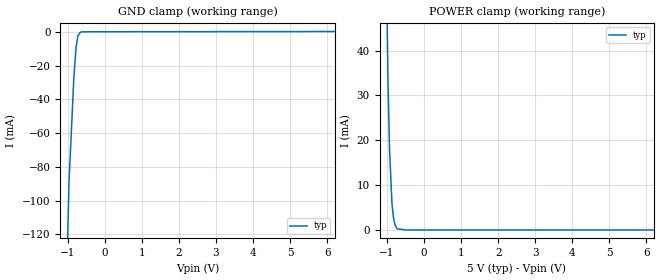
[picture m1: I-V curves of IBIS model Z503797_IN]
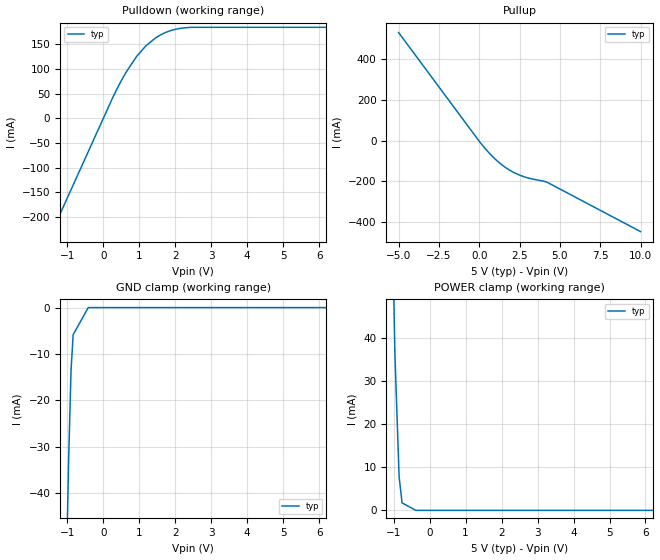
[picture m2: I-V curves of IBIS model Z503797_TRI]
| YOU ARE ONLY AUTHORIZED TO USE THIS SOFTWARE
| ACCORDING TO LICENSOR'S LICENSE RESTRICTIONS.
[IBIS Ver] 3.1
[File Name] mc74ac541n_5.ibs
[File Rev] 2.0
[Source] Measured and created by ICX Technology
[Date] Friday 7/14/00 9:08:00 AM
[Copyright]
| (C) COPYRIGHT 1993-2000
| MENTOR GRAPHICS CORPORATION
| ICX STANDARD LIBRARY, ICX PROJECT MODELING,
| ICX CUSTOM MODELING, ICX VENDOR MODEL
| ALL RIGHTS RESERVED.
| THE FOLLOWING ARE TRADEMARKS OR SERVICE MARKS OF
| MENTOR GRAPHICS CORPORATION:ICX (R), ICX STANDARD
| LIBRARY(R), ICX PROJECT MODELING(R), ICX CUSTOM
| MODELING(R), qualityIBIS(TM), MODELVIEWER(TM),
| AND MODELEDITOR(TM)
| ALL COPIES OF SOFTWARE, INCLUDING BUT NOT LIMITED TO
| ANY MODIFICATIONS, ENHANCEMENTS OR DERIVATIVE WORKS,
| MUST CONTAIN ALL MENTOR GRAPHICS CORPORATION'S
| NOTICES AND LEGENDS, INCLUDING THOSE EMBEDDED IN
| SOFTWARE AND THOSE AFFIXED TO SOFTWARE MEDIUM
| AND CONTAINER, AS RECEIVED FROM MENTOR GRAPHICS
| CORPORATION.
|  ZAP Model Builder 2.7
[Component] MC74AC541N_5
[Manufacturer] OnSemiconductor
[Package]
| variable   typ   min   max
R_pkg  .216ohms NA NA
L_pkg  5.76nH NA NA
C_pkg  1.29pF NA NA
[Pin] signal_name  model_name  R_pin  L_pin C_pin
1 _G1 Z503797_IN .232 9.76n 1.87p
2 A0 Z503797_IN .224 7.26n 1.58p
3 A1 Z503797_IN .216 5.26n 1.29p
4 A2 Z503797_IN .208 3.76n 1.0p
5 A3 Z503797_IN .2 2.76n .71p
6 A4 Z503797_IN .2 2.76n .71p
7 A5 Z503797_IN .208 3.76n 1.0p
8 A6 Z503797_IN .216 5.26n 1.29p
9 A7 Z503797_IN .224 7.26n 1.58p
10 GND GND .232 9.76n 1.87p
11 Y7 Z503797_TRI .232 9.76n 1.87p
12 Y6 Z503797_TRI .224 7.26n 1.58p
13 Y5 Z503797_TRI .216 5.26n 1.29p
14 Y4 Z503797_TRI .208 3.76n 1.0p
15 Y3 Z503797_TRI .2 2.76n .71p
16 Y2 Z503797_TRI .2 2.76n .71p
17 Y1 Z503797_TRI .208 3.76n 1.0p
18 Y0 Z503797_TRI .216 5.26n 1.29p
19 _G2 Z503797_IN .224 7.26n 1.58p
20 VCC POWER .232 9.76n 1.87p
| Models and submodels in the file (2): Z503797_IN (Input), Z503797_TRI (3-state)
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| (C) COPYRIGHT 1993-2000
| MENTOR GRAPHICS CORPORATION
| ICX STANDARD LIBRARY, ICX PROJECT MODELING,
| ICX CUSTOM MODELING, ICX VENDOR MODEL
| ALL RIGHTS RESERVED.
| THE FOLLOWING ARE TRADEMARKS OR SERVICE MARKS OF
| MENTOR GRAPHICS CORPORATION:ICX (R), ICX STANDARD
| LIBRARY(R), ICX PROJECT MODELING(R), ICX CUSTOM
| MODELING(R), qualityIBIS(TM), MODELVIEWER(TM),
| AND MODELEDITOR(TM)
| ALL COPIES OF SOFTWARE, INCLUDING BUT NOT LIMITED TO
| ANY MODIFICATIONS, ENHANCEMENTS OR DERIVATIVE WORKS,
| MUST CONTAIN ALL MENTOR GRAPHICS CORPORATION'S
| NOTICES AND LEGENDS, INCLUDING THOSE EMBEDDED IN
| SOFTWARE AND THOSE AFFIXED TO SOFTWARE MEDIUM
| AND CONTAINER, AS RECEIVED FROM MENTOR GRAPHICS
| CORPORATION.
| Model Application Version 1.89 2/18/99.
[Model] Z503797_IN
Model_type Input
Vinl = 1.500V
Vinh = 3.500V
C_comp 4.000pF NA NA
| variable typ   min   max
[Voltage Range] 5.000V NA NA
[GND Clamp Reference] 0.000V NA NA
[POWER Clamp Reference] 5.000V NA NA
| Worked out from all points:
|   GND clamp passes 1 mA (typ) near -0.69 V on its own axis
|   POWER clamp passes 1 mA (typ) near -0.77 V on its own axis
[GND Clamp]
-5V       -3.816A    NA         NA
-971mV    -90.27mA   NA         NA
-839.2mV  -27.51mA   NA         NA
-780.2mV  -9.412mA   NA         NA
-729.5mV  -2.329mA   NA         NA
-667.2mV  -253.8uA   NA         NA
-295.3mV  135.4uA    NA         NA
10V       554uA      NA         NA
[POWER Clamp]
-5V       4.066A     NA         NA
-1.209V   207.7mA    NA         NA
-1.095V   108.9mA    NA         NA
-977mV    34.11mA    NA         NA
-932mV    17.89mA    NA         NA
-867mV    5.907mA    NA         NA
-830mV    2.929mA    NA         NA
-792mV    1.297mA    NA         NA
-732mV    270.2uA    NA         NA
-488mV    0A         NA         NA
10V       0A         NA         NA
| (C) COPYRIGHT 1993-2000
| MENTOR GRAPHICS CORPORATION
| ICX STANDARD LIBRARY, ICX PROJECT MODELING,
| ICX CUSTOM MODELING, ICX VENDOR MODEL
| ALL RIGHTS RESERVED.
| THE FOLLOWING ARE TRADEMARKS OR SERVICE MARKS OF
| MENTOR GRAPHICS CORPORATION:ICX (R), ICX STANDARD
| LIBRARY(R), ICX PROJECT MODELING(R), ICX CUSTOM
| MODELING(R), qualityIBIS(TM), MODELVIEWER(TM),
| AND MODELEDITOR(TM)
| ALL COPIES OF SOFTWARE, INCLUDING BUT NOT LIMITED TO
| ANY MODIFICATIONS, ENHANCEMENTS OR DERIVATIVE WORKS,
| MUST CONTAIN ALL MENTOR GRAPHICS CORPORATION'S
| NOTICES AND LEGENDS, INCLUDING THOSE EMBEDDED IN
| SOFTWARE AND THOSE AFFIXED TO SOFTWARE MEDIUM
| AND CONTAINER, AS RECEIVED FROM MENTOR GRAPHICS
| CORPORATION.
| Model Application Version 1.89 2/18/99.
[Model] Z503797_TRI
Model_type 3-state
Vref=0.000V
Rref=500.0ohms
Cref=50.00pF
Vmeas=2.500V
C_comp 8.000pF NA NA
| variable typ   min   max
[Voltage Range] 5.000V NA NA
[POWER Clamp Reference] 5.000V NA NA
[Pullup Reference] 5.000V NA NA
[Pulldown Reference] 0.000V NA NA
[GND Clamp Reference] 0.000V NA NA
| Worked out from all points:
|   slope of the pulldown table from 0 to 0.75 V, typ, clamps not added: 7.05 ohm
|   slope of the pullup table from 0 to 0.75 V, typ, clamps not added: 10.9 ohm
[GND Clamp]
-5V       -1.585A    NA         NA
-966.4mV  -33.68mA   NA         NA
-897.9mV  -13.63mA   NA         NA
-838.2mV  -5.856mA   NA         NA
-419.1mV  0A         NA         NA
10V       0A         NA         NA
[Pulldown]
-5V       -806.1mA   NA         NA
261.3mV   42.24mA    NA         NA
449.4mV   69.86mA    NA         NA
625.1mV   92.81mA    NA         NA
928.8mV   126mA      NA         NA
1.183V    147.2mA    NA         NA
1.45V     163.2mA    NA         NA
1.734V    174.5mA    NA         NA
2.125V    182.5mA    NA         NA
2.523V    184.8mA    NA         NA
10V       184.8mA    NA         NA
[Pullup]
-5V       531.6mA    NA         NA
35mV      -6.592mA   NA         NA
615mV     -60.62mA   NA         NA
1.392V    -117.9mA   NA         NA
1.847V    -143.1mA   NA         NA
2.573V    -171.4mA   NA         NA
4.198V    -203.8mA   NA         NA
10V       -446.8mA   NA         NA
[POWER Clamp]
-5V       2.044A     NA         NA
-1.168V   123.6mA    NA         NA
-966mV    36.2mA     NA         NA
-849mV    7.768mA    NA         NA
-767mV    1.723mA    NA         NA
-383.5mV  0A         NA         NA
10V       0A         NA         NA
[Ramp]
| variable typ min max
dV/dt_r 2.959/590.3p NA NA
dV/dt_f 2.959/385.1p NA NA
R_load = 500.0Ohms
